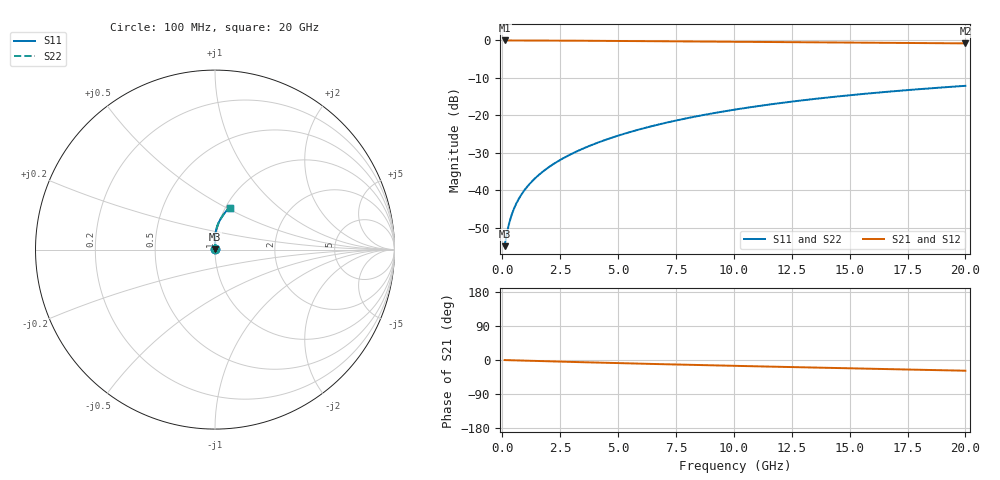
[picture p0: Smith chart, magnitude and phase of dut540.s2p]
! Touchstone file exported from HFSS 2024.1.0
!  File:  C:/UserFiles/LocalFiles/RDL_TSV_Batchsim/temp_RDL_bottom_540_1779688902.aedt
!  Generated:  02:04:00 PM May 25, 2026
!  Design:  RDL_bottom
!  Project:  temp_RDL_bottom_540_1779688902
!  Setup:  Setup1
!  Solution:  Sweep
! Variables:
!  dtsv = 10.80580581um
!  hbump = 3um
!  htsv = 64.45um
!  ldown = 413.33um
!  lrdl = 100um
!  p = 40
!  p1 = 49.43um
!  rhole = 1um
!  t = 450um
!  tdown = 4.79um
!  trdl = 3.915915916um
!  wdown = 25.64um
!  wrdl = 20um
# GHz S MA R 50.000000
! Terminal data exported
! Port[1] = RDL1_T1
! Port[2] = RDL1_T2
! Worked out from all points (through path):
!   200 points, 100 MHz to 20 GHz, reference 50 ohm
!   highest |S21| = -0.01 dB at 100 MHz (marker M1); lowest = -0.8 dB at 20 GHz (marker M2)
!   group delay of S21, straight-line fit = 3.87 ps
!   lowest |S11| = -55.0 dB at 100 MHz (marker M3), VSWR 1.00, Z = 50.1 + j0.113 ohm
!   |S11| at or under -10 dB: start of sweep to end of sweep
!   |S22| runs from -55.0 to -12.1 dB; largest |S21 - S12| = 5.1e-15
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0.1  0.001787 39.3  0.9986 -0.2  0.9986 -0.2  0.001787 39.3
! Gamma 0 0 0 0
! Port Impedance 50 0 50 0
0.2  0.002665 57.2  0.9985 -0.4  0.9985 -0.4  0.002665 57.2
0.3  0.003647 65.3  0.9983 -0.5  0.9983 -0.5  0.003647 65.2
0.4  0.004638 69.7  0.9982 -0.7  0.9982 -0.7  0.004637 69.7
0.5  0.005618 72.6  0.9981 -0.9  0.9981 -0.9  0.005615 72.5
0.7  0.007541 76.3  0.9979 -1.2  0.9979 -1.2  0.007537 76.3
1  0.0104 80.0  0.9974 -1.7  0.9974 -1.7  0.01039 80.0
1.4  0.01425 83.1  0.9967 -2.4  0.9967 -2.4  0.01425 83.1
1.7  0.0172 84.8  0.9961 -2.9  0.9961 -2.9  0.01719 84.8
2  0.0202 86.0  0.9953 -3.4  0.9953 -3.4  0.02019 86.0
2.7  0.02742 88.1  0.9931 -4.6  0.9931 -4.6  0.02741 88.1
3.5  0.03607 89.4  0.9901 -5.9  0.9901 -5.9  0.03606 89.4
4.2  0.044 90.0  0.9871 -7.0  0.9871 -7.0  0.04399 90.0
5  0.05345 90.2  0.9834 -8.2  0.9834 -8.2  0.05344 90.2
5.9  0.06453 90.0  0.9791 -9.6  0.9791 -9.6  0.06452 90.0
6.8  0.07599 89.5  0.9746 -10.9  0.9746 -10.9  0.07598 89.5
8.4  0.09705 87.9  0.9667 -13.2  0.9667 -13.2  0.09703 87.9
10.1  0.1199 85.7  0.9585 -15.5  0.9585 -15.5  0.1199 85.7
11.7  0.1415 83.3  0.9509 -17.6  0.9509 -17.6  0.1415 83.3
13.4  0.1642 80.7  0.943 -19.9  0.943 -19.9  0.1642 80.7
16.7  0.207 75.7  0.9279 -24.1  0.9279 -24.1  0.207 75.7
20  0.2474 70.8  0.9129 -28.3  0.9129 -28.3  0.2474 70.8
